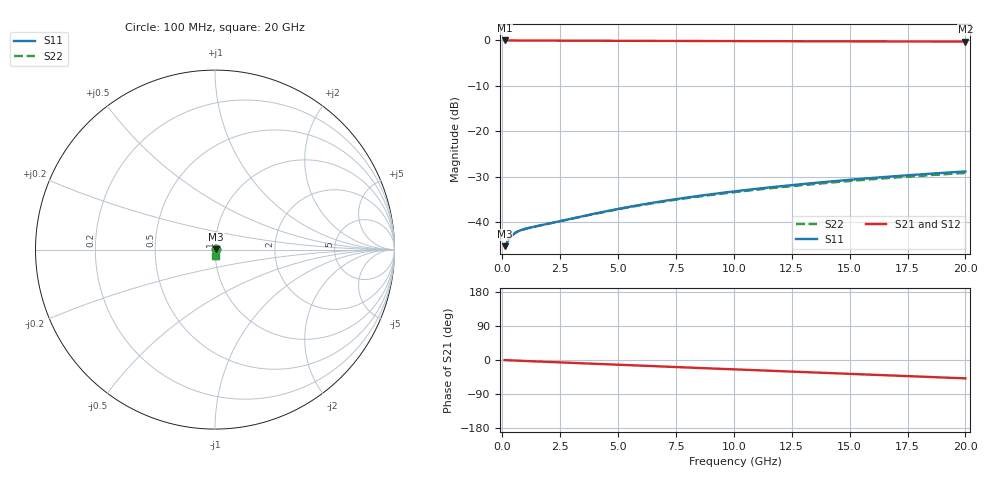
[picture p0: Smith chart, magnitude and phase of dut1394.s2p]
! Touchstone file exported from HFSS 2026.1.0
!  File:  C:/ffzhzh/LocalFiles/Ansys_Project_Files/temp_train_TMRDL_1394_1783166267_55132.aedt
!  Generated:  07:59:01 PM Jul  4, 2026
!  Design:  TMRDL
!  Project:  temp_train_TMRDL_1394_1783166267_55132
! Variables:
!  h_bsmrdl = 2um
!  h_ox = 20um
!  h_rdl = 5um
!  h_sub = 80um
!  h_tmrdl = 4.29um
!  h_tsv = 80um
!  h_via = 3um
!  l_bsmrdl = 300um
!  l_sub = 1286.25um
!  l_tmrdl = 886.25um
!  m_sub = 200um
!  pitch = 17.55um
!  r_tsv = 6um
!  s_tmrdl = 10um
!  w_bsmrdl = 18um
!  w_sub = 500um
!  w_tmrdl = 14.05um
!  x_tsv_center1 = 893.275um
!  x_tsv_center2 = 1211.275um
!  x_tsv_center3 = 2111.575um
!  x_tsv_center4 = 2429.575um
!  x_tsv_center5 = 3329.875um
!  x_tsv_center6 = 3647.875um
# GHz S MA R 50.000000
! Terminal data exported
! Port[1] = TM_RDL1_1_T1
! Port[2] = TM_RDL1_1_T2
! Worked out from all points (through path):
!   200 points, 100 MHz to 20 GHz, reference 50 ohm
!   highest |S21| = -0.05 dB at 100 MHz (marker M1); lowest = -0.3 dB at 20 GHz (marker M2)
!   group delay of S21, straight-line fit = 6.7 ps
!   lowest |S11| = -45.3 dB at 100 MHz (marker M3), VSWR 1.01, Z = 50.5 + j0.0793 ohm
!   |S11| at or under -10 dB: start of sweep to end of sweep
!   |S22| runs from -45.3 to -29.2 dB; largest |S21 - S12| = 2.1e-15
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0.1  0.005429 8.3  0.9946 -0.3  0.9946 -0.3  0.005429 8.3
! Gamma 0 0 0 0
! Port Impedance 50 0 50 0
0.3  0.006543 15.0  0.9937 -0.9  0.9937 -0.9  0.006543 15.0
0.4  0.007033 15.1  0.9932 -1.1  0.9932 -1.1  0.007032 15.1
0.5  0.007415 14.5  0.9929 -1.4  0.9929 -1.4  0.007414 14.5
0.6  0.00771 13.7  0.9926 -1.6  0.9926 -1.6  0.007709 13.8
0.7  0.007942 13.0  0.9923 -1.9  0.9923 -1.9  0.007941 13.0
0.8  0.008131 12.3  0.9921 -2.1  0.9921 -2.1  0.008129 12.3
1  0.008432 11.2  0.9918 -2.6  0.9918 -2.6  0.008429 11.2
1.3  0.008799 10.1  0.9914 -3.4  0.9914 -3.4  0.008793 10.1
3.5  0.01164 2.7  0.9886 -8.9  0.9886 -8.9  0.01159 2.8
4.4  0.01301 -1.9  0.9871 -11.1  0.9871 -11.1  0.01292 -1.9
5.2  0.01426 -6.6  0.9858 -13.1  0.9858 -13.1  0.01414 -6.6
6  0.01552 -11.5  0.9844 -15.0  0.9844 -15.0  0.01536 -11.6
6.8  0.01678 -16.6  0.9831 -17.0  0.9831 -17.0  0.01658 -16.7
8.4  0.01928 -26.8  0.9805 -20.8  0.9805 -20.8  0.01897 -26.9
10.1  0.02189 -37.0  0.9781 -24.9  0.9781 -24.9  0.02145 -37.4
11.7  0.0243 -46.0  0.976 -28.7  0.976 -28.7  0.02373 -46.6
13.4  0.02683 -54.9  0.974 -32.8  0.974 -32.8  0.02611 -55.7
15  0.02917 -62.6  0.9722 -36.6  0.9722 -36.6  0.0283 -63.6
16.7  0.03159 -70.3  0.9705 -40.6  0.9705 -40.6  0.03056 -71.6
18.4  0.03394 -77.4  0.9688 -44.7  0.9688 -44.7  0.03274 -79.0
20  0.03606 -83.8  0.9672 -48.5  0.9672 -48.5  0.0347 -85.7
